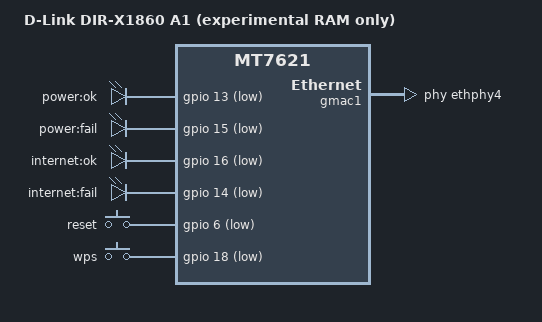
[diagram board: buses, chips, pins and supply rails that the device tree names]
// SPDX-License-Identifier: GPL-2.0-or-later OR MIT
// Experimental RAM-only board description. No persistent storage or radio.
#include "mt7621.dtsi"
#include <dt-bindings/gpio/gpio.h>
#include <dt-bindings/input/input.h>

/ {
	compatible = "dlink,dir-x1860-a1", "mediatek,mt7621-soc";
	model = "D-Link DIR-X1860 A1 (experimental RAM only)";

	chosen {
		bootargs = "console=ttyS0,115200";
	};

	leds {
		compatible = "gpio-leds";
		power-ok {
			label = "power:ok";
			gpios = <&gpio 13 GPIO_ACTIVE_LOW>;
		};
		power-fail {
			label = "power:fail";
			gpios = <&gpio 15 GPIO_ACTIVE_LOW>;
		};
		internet-ok {
			label = "internet:ok";
			gpios = <&gpio 16 GPIO_ACTIVE_LOW>;
		};
		internet-fail {
			label = "internet:fail";
			gpios = <&gpio 14 GPIO_ACTIVE_LOW>;
		};
	};

	keys {
		compatible = "gpio-keys";
		reset {
			label = "reset";
			linux,code = <KEY_RESTART>;
			gpios = <&gpio 6 GPIO_ACTIVE_LOW>;
		};
		wps {
			label = "wps";
			linux,code = <KEY_WPS_BUTTON>;
			gpios = <&gpio 18 GPIO_ACTIVE_LOW>;
		};
	};
};

// Deliberately disable flash and PCIe until validated on physical hardware.
&nand {
	status = "disabled";
};

&pcie {
	status = "disabled";
};

// Stock A1 evidence: GMAC1 RGMII to PHY4; keep switch port 4 disabled.
&gmac1 {
	status = "okay";
	label = "wan";
	phy-handle = <&ethphy4>;
};

&ethphy4 {
	/delete-property/ interrupts;
};

&switch0 {
	ports {
		port@0 {
			status = "okay";
			label = "lan1";
		};
		port@1 {
			status = "okay";
			label = "lan2";
		};
		port@2 {
			status = "okay";
			label = "lan3";
		};
		port@3 {
			status = "okay";
			label = "lan4";
		};
		port@4 {
			status = "disabled";
		};
	};
};
